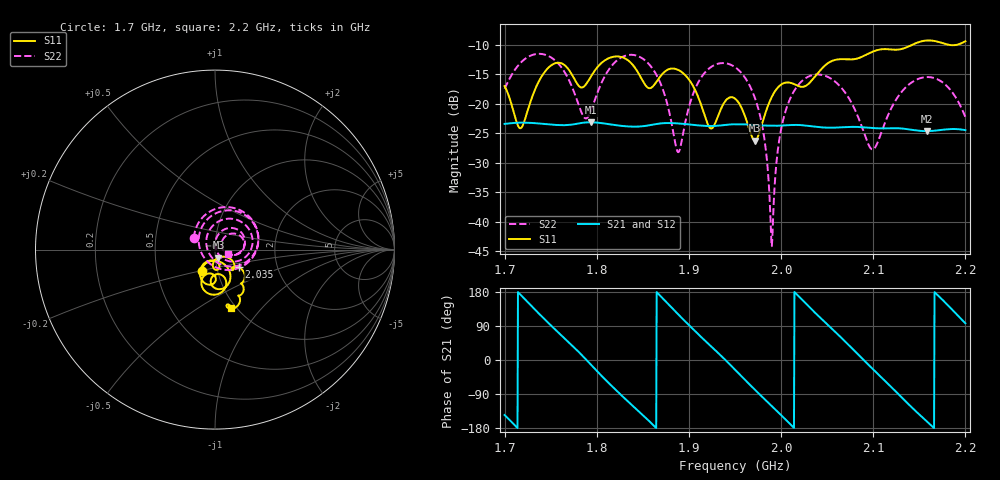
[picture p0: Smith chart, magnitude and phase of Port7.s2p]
# Hz S RI R 50
! CMT, CMT808U, 21440046, 21.4.3/4
! Date: 11/20/2025 11:32:23 PM
! Data: Format (Calibration Info)
! Freq	S11:Re/Im(F2)	S41:Re/Im(F2)	S14:Re/Im(F2)	S44:Re/Im(F2)
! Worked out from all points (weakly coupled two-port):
!   1001 points, 1.7 GHz to 2.2 GHz, reference 50 ohm
!   highest |S21| = -23.14 dB at 1.794 GHz (marker M1); lowest = -24.6 dB at 2.158 GHz (marker M2)
!   lowest |S11| = -26.2 dB at 1.972 GHz (marker M3), VSWR 1.10, Z = 51.7 - j4.66 ohm
!   |S11| at or under -10 dB: start of sweep to 2.143 GHz; 2.181315 GHz to 2.191058 GHz (9.743 MHz wide, 0.446 % of centre)
!   |S22| runs from -44.1 to -11.5 dB; largest |S21 - S12| = 0.0012
!   S11 on the Smith chart (normalised r, x): 1.7 GHz: 0.84, -0.20; 2.035 GHz: 1.28, -0.26; 2.2 GHz: 0.95, -0.70
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1.7e9  -0.075 -0.1196  -0.0554 -0.0386  -0.0562 -0.038  -0.117 0.065
1.7175e9  0.00109 -0.062  -0.0684 0.0101  -0.0686 0.0111  -0.0077 0.2226
1.7445e9  0.0838 -0.1706  -0.0173 0.0649  -0.0164 0.0655  0.2338 0.1122
1.7835e9  0.0118 -0.1367  0.0668 0.0162  0.0673 0.0153  -0.0266 -0.0797
1.7935e9  0.0557 -0.1597  0.0681 -0.0145  0.0683 -0.0156  -0.0857 0.0102
1.828e9  -0.0385 -0.244  -0.00688 -0.0644  -0.00793 -0.0645  0.1402 0.2067
1.867e9  0.00465 -0.1624  -0.0674 0.00684  -0.0675 0.00791  0.1368 -0.0873
1.8885e9  -0.0618 -0.1829  -0.0341 0.0589  -0.0333 0.0596  -0.0352 -0.0165
1.9235e9  -0.0128 -0.0605  0.0515 0.0392  0.0523 0.0384  0.1148 0.1678
1.95e9  -0.00119 -0.1105  0.0605 -0.0289  0.0602 -0.03  0.2039 0.0101
1.9715e9  0.0189 -0.045  0.0135 -0.0647  0.0124 -0.0651  0.0907 -0.0667
1.982e9  0.0666 -0.0424  -0.0149 -0.0636  -0.0161 -0.0635  0.031 -0.039
1.99e9  0.0964 -0.0616  -0.0344 -0.0552  -0.0354 -0.0547  0.0057 0.00247
1.9965e9  0.108 -0.0845  -0.0477 -0.0443  -0.0486 -0.0436  0.0021 0.0406
2.004e9  0.1057 -0.1069  -0.0593 -0.0279  -0.06 -0.0269  0.0161 0.0805
2.0335e9  0.1256 -0.0963  -0.0436 0.0473  -0.0429 0.0481  0.1437 0.0986
2.0355e9  0.1325 -0.0987  -0.0394 0.0505  -0.0386 0.0513  0.1497 0.092
2.0675e9  0.1492 -0.1858  0.0375 0.051  0.0383 0.0504  0.1287 -0.0213
2.0985e9  0.1598 -0.2224  0.058 -0.0226  0.0578 -0.0237  0.04 0.00949
2.117e9  0.1341 -0.256  0.0264 -0.0561  0.0255 -0.0567  0.0503 0.0661
2.158e9  0.1101 -0.3249  -0.0556 -0.0184  -0.0559 -0.0174  0.1615 0.047
2.2e9  0.0885 -0.3263  -0.00698 0.0594  -0.00598 0.0595  0.0739 -0.0222
